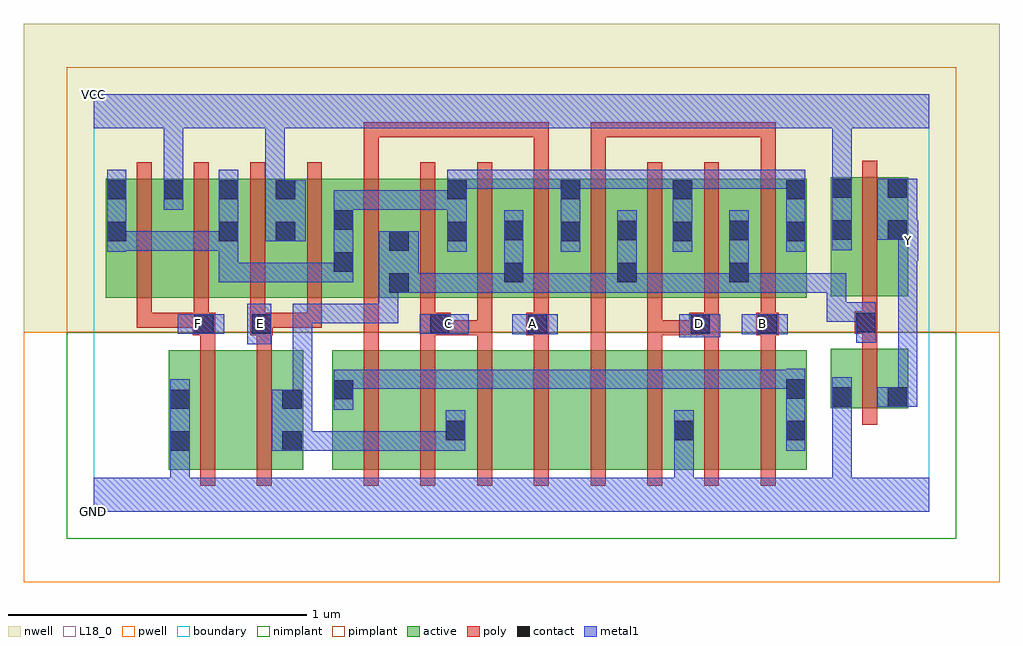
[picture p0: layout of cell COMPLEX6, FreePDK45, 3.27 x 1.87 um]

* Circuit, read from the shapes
.subckt COMPLEX6 A B C D E F GND VCC Y
M1 n1 F GND VSUBS nfet w=0.4u l=0.05u
M2 n2 E n1 VSUBS nfet w=0.4u l=0.05u
M3 n3 A n4 VSUBS nfet w=0.4u l=0.05u
M4 n2 C n3 VSUBS nfet w=0.4u l=0.05u
M5 n5 C n2 VSUBS nfet w=0.4u l=0.05u
M6 n6 A n5 VSUBS nfet w=0.4u l=0.05u
M7 n7 B n6 VSUBS nfet w=0.4u l=0.05u
M8 GND D n7 VSUBS nfet w=0.4u l=0.05u
M9 n8 D GND VSUBS nfet w=0.4u l=0.05u
M10 n4 B n8 VSUBS nfet w=0.4u l=0.05u
M11 Y n2 GND VSUBS nfet w=0.2u l=0.05u
M12 VCC F n9 n10 pfet w=0.4u l=0.05u m=2
M13 VCC E n9 n10 pfet w=0.4u l=0.05u m=2
M14 n2 A n9 n10 pfet w=0.4u l=0.05u m=2
M15 n9 C n2 n10 pfet w=0.4u l=0.05u m=2
M16 n2 B n9 n10 pfet w=0.4u l=0.05u m=2
M17 n9 D n2 n10 pfet w=0.4u l=0.05u m=2
M18 Y n2 VCC n10 pfet w=0.4u l=0.05u
.ends

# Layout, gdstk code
import gdstk
lib = gdstk.Library(unit=1e-6, precision=1e-09)
def R(c, l, rs):  # rectangles x0, y0, x1, y1
    for r in rs: c.add(gdstk.rectangle(r[:2], r[2:], *l))
def A(c, l, x, y, w, h, nx, ny, dx, dy):  # array of equal rectangles
    R(c, l, [(x+i*dx, y+j*dy, x+i*dx+w, y+j*dy+h) for i in range(nx) for j in range(ny)])
active = (1, 0)
pwell = (2, 0)
nwell = (3, 0)
nimplant = (4, 0)
pimplant = (5, 0)
poly = (9, 0)
contact = (10, 0)
metal1 = (11, 0)
L18_0 = (18, 0)
boundary = (235, 0)

complex6 = lib.new_cell('COMPLEX6')
A(complex6, active, 1.18, 0.717, 0.265, 0.4, 3, 1, 0.19, 0)
R(complex6, active, [(0.252,0.142,0.477,0.542), (0.477,0.142,0.702,0.542), (0.8,0.142,1.025,0.542), (1.025,0.142,1.25,0.542), (1.175,0.142,1.405,0.542), (1.405,0.142,1.595,0.542), (1.595,0.142,1.785,0.542), (1.785,0.142,2.015,0.542), (1.94,0.142,2.165,0.542), (2.165,0.142,2.39,0.542), (0.252,0.147,0.327,0.542), (0.627,0.147,0.702,0.542), (0.8,0.147,0.905,0.542), (1.175,0.147,1.25,0.492), (1.94,0.147,2.015,0.492), (2.315,0.147,2.39,0.542), (2.47,0.347,2.545,0.547), (2.47,0.347,2.73,0.547), (2.655,0.347,2.73,0.547), (0.04,0.717,0.115,1.117), (0.04,0.717,0.305,1.117), (0.23,0.717,0.49,1.117), (0.415,0.717,0.68,1.117), (0.605,0.717,0.875,1.117), (0.8,0.717,1.06,1.117), (0.985,0.717,1.06,1.067), (0.985,0.717,1.255,1.117), (1.37,0.717,1.445,1.067), (1.75,0.717,2.01,1.117), (1.75,0.717,1.825,1.067), (1.935,0.717,2.2,1.117), (2.125,0.717,2.39,1.117), (2.125,0.717,2.2,1.067), (2.315,0.717,2.39,1.117), (2.47,0.722,2.545,1.122), (2.47,0.722,2.73,1.122), (2.655,0.722,2.73,1.122), (0.415,0.742,0.49,1.117), (0.8,0.782,0.875,1.117), (1.18,0.782,1.255,1.117), (1.935,0.782,2.01,1.117), (0.605,0.802,0.68,1.117), (1.56,0.802,1.635,1.117), (0.23,0.907,0.305,1.117)])
R(complex6, pwell, [(-0.235,-0.235,3.035,0.602)])
R(complex6, nwell, [(-0.235,0.602,3.035,1.635)])
R(complex6, nimplant, [(-0.09,-0.09,2.89,0.602)])
R(complex6, pimplant, [(-0.09,0.602,2.89,1.49)])
A(complex6, poly, 0.905, 0.087, 0.05, 0.51, 8, 1, 0.19, 0)
A(complex6, poly, 1.095, 0.547, 0.05, 0.095, 7, 1, 0.19, 0)
A(complex6, poly, 0.145, 0.617, 0.05, 0.095, 6, 1, 0.19, 0)
A(complex6, poly, 0.145, 0.662, 0.05, 0.51, 12, 1, 0.19, 0)
R(complex6, poly, [(0.357,0.087,0.407,0.597), (0.547,0.087,0.597,0.597), (2.575,0.292,2.625,0.602), (0.357,0.547,0.407,0.642), (0.547,0.547,0.597,0.642), (0.905,0.547,0.955,0.667), (2.575,0.552,2.625,0.647), (0.332,0.592,0.407,0.667), (0.525,0.592,0.6,0.667), (1.095,0.592,1.197,0.667), (1.147,0.592,1.197,0.642), (1.147,0.592,1.197,0.642), (1.147,0.592,1.335,0.642), (1.285,0.592,1.335,0.642), (1.285,0.592,1.335,0.712), (1.45,0.592,1.525,0.667), (1.665,0.592,1.715,0.642), (1.665,0.592,1.715,0.712), (1.855,0.592,1.905,0.642), (1.855,0.592,1.905,0.642), (1.855,0.592,1.905,0.642), (1.855,0.592,2.045,0.642), (1.855,0.592,1.905,0.712), (1.995,0.592,2.095,0.667), (2.22,0.592,2.295,0.667), (2.55,0.597,2.625,0.672), (0.145,0.617,0.195,0.667), (0.145,0.617,0.382,0.667), (0.332,0.617,0.382,0.667), (0.332,0.617,0.382,0.667), (0.55,0.617,0.6,0.667), (0.55,0.617,0.6,0.667), (0.55,0.617,0.765,0.667), (0.715,0.617,0.765,0.667), (0.905,0.617,0.955,0.667), (1.475,0.617,1.525,0.712), (2.045,0.617,2.095,0.712), (2.235,0.617,2.285,0.712), (2.575,0.622,2.625,0.717), (2.575,0.667,2.625,1.177), (0.905,1.122,0.955,1.305), (1.475,1.122,1.525,1.305), (1.665,1.122,1.715,1.305), (2.235,1.122,2.285,1.305), (0.905,1.255,0.955,1.305), (0.905,1.255,0.955,1.305), (0.905,1.255,0.955,1.305), (0.905,1.255,1.197,1.305), (1.147,1.255,1.197,1.305), (1.147,1.255,1.367,1.305), (1.317,1.255,1.367,1.305), (1.317,1.255,1.367,1.305), (1.317,1.255,1.367,1.305), (1.317,1.255,1.525,1.305), (1.475,1.255,1.525,1.305), (1.475,1.255,1.525,1.305), (1.475,1.255,1.525,1.305), (1.665,1.255,1.715,1.305), (1.665,1.255,1.715,1.305), (1.665,1.255,1.715,1.305), (1.665,1.255,1.905,1.305), (1.855,1.255,1.905,1.305), (1.855,1.255,1.905,1.305), (1.855,1.255,1.905,1.305), (1.855,1.255,2.037,1.305), (1.987,1.255,2.285,1.305), (1.987,1.255,2.037,1.305), (1.987,1.255,2.037,1.305), (1.987,1.255,2.037,1.305), (2.235,1.255,2.285,1.305)])
R(complex6, contact, [(0.257,0.205,0.322,0.27), (0.632,0.205,0.697,0.27), (1.18,0.24,1.245,0.305), (1.945,0.24,2.01,0.305), (2.32,0.24,2.385,0.305), (0.257,0.345,0.322,0.41), (0.632,0.345,0.697,0.41), (2.475,0.352,2.54,0.417), (2.66,0.352,2.725,0.417), (0.805,0.377,0.87,0.442), (2.32,0.38,2.385,0.445), (0.337,0.597,0.402,0.662), (0.53,0.597,0.595,0.662), (1.127,0.597,1.192,0.662), (1.455,0.597,1.52,0.662), (2,0.597,2.065,0.662), (2.225,0.597,2.29,0.662), (2.555,0.602,2.62,0.667), (0.99,0.735,1.055,0.8), (1.375,0.77,1.44,0.835), (1.755,0.77,1.82,0.835), (2.13,0.77,2.195,0.835), (0.805,0.805,0.87,0.87), (0.99,0.875,1.055,0.94), (0.045,0.907,0.11,0.972), (0.42,0.907,0.485,0.972), (0.61,0.907,0.675,0.972), (1.185,0.907,1.25,0.972), (1.565,0.907,1.63,0.972), (1.94,0.907,2.005,0.972), (2.32,0.907,2.385,0.972), (1.375,0.91,1.44,0.975), (1.755,0.91,1.82,0.975), (2.13,0.91,2.195,0.975), (2.475,0.912,2.54,0.977), (2.66,0.912,2.725,0.977), (0.805,0.945,0.87,1.01), (0.045,1.047,0.11,1.112), (0.235,1.047,0.3,1.112), (0.42,1.047,0.485,1.112), (0.61,1.047,0.675,1.112), (1.185,1.047,1.25,1.112), (1.565,1.047,1.63,1.112), (1.94,1.047,2.005,1.112), (2.32,1.047,2.385,1.112), (2.475,1.052,2.54,1.117), (2.66,1.052,2.725,1.117)])
R(complex6, metal1, [(0,0,2.8,0.115), (0.257,0.05,0.322,0.235), (1.945,0.05,2.01,0.27), (2.475,0.05,2.54,0.115), (2.475,0.05,2.54,0.115), (2.475,0.05,2.54,0.382), (0.257,0.17,0.322,0.445), (0.597,0.205,0.732,0.41), (0.667,0.205,0.732,0.27), (0.667,0.205,0.732,0.27), (0.667,0.205,0.732,0.27), (0.667,0.205,0.732,0.27), (0.667,0.205,0.882,0.27), (0.817,0.205,0.882,0.27), (0.817,0.205,0.882,0.27), (0.817,0.205,0.882,0.27), (0.817,0.205,1.077,0.27), (1.012,0.205,1.077,0.27), (1.012,0.205,1.077,0.27), (1.012,0.205,1.077,0.27), (1.012,0.205,1.245,0.27), (1.18,0.205,1.245,0.34), (1.945,0.205,2.01,0.34), (2.32,0.205,2.385,0.48), (2.475,0.317,2.54,0.382), (2.475,0.317,2.54,0.382), (2.475,0.317,2.54,0.452), (0.805,0.342,0.87,0.477), (0.667,0.345,0.732,0.697), (2.625,0.352,2.76,0.417), (2.695,0.352,2.76,0.907), (0.805,0.412,0.87,0.477), (0.805,0.412,0.87,0.477), (0.805,0.412,1.107,0.477), (1.042,0.412,1.107,0.477), (1.042,0.412,1.107,0.477), (1.042,0.412,1.107,0.477), (1.042,0.412,1.257,0.477), (1.192,0.412,1.257,0.477), (1.192,0.412,1.257,0.477), (1.192,0.412,1.257,0.477), (1.192,0.412,1.492,0.477), (1.427,0.412,1.492,0.477), (1.427,0.412,1.492,0.477), (1.427,0.412,1.492,0.477), (1.427,0.412,1.682,0.477), (1.617,0.412,1.682,0.477), (1.617,0.412,1.682,0.477), (1.617,0.412,1.682,0.477), (1.617,0.412,1.867,0.477), (1.802,0.412,1.867,0.477), (1.802,0.412,1.867,0.477), (1.802,0.412,1.867,0.477), (1.802,0.412,2.005,0.477), (1.94,0.412,2.005,0.477), (1.94,0.412,2.005,0.477), (1.94,0.412,2.005,0.477), (1.94,0.412,2.247,0.477), (2.182,0.412,2.247,0.477), (2.182,0.412,2.385,0.477), (2.32,0.412,2.385,0.477), (2.32,0.412,2.385,0.477), (0.515,0.562,0.595,0.697), (2.555,0.567,2.62,0.702), (1.962,0.585,2.1,0.662), (1.402,0.595,1.555,0.662), (2.172,0.595,2.325,0.662), (0.282,0.597,0.437,0.662), (1.092,0.597,1.257,0.662), (0.667,0.632,0.732,0.697), (0.667,0.632,0.732,0.697), (0.667,0.632,0.732,0.697), (0.667,0.632,0.882,0.697), (0.817,0.632,0.882,0.697), (0.817,0.632,0.882,0.697), (0.817,0.632,0.882,0.697), (0.817,0.632,1.02,0.697), (0.955,0.632,1.02,0.697), (0.955,0.632,1.02,0.8), (2.457,0.637,2.522,0.702), (2.457,0.637,2.62,0.702), (2.457,0.637,2.522,0.8), (0.955,0.735,1.09,0.94), (1.025,0.735,1.09,0.8), (1.025,0.735,1.09,0.8), (1.025,0.735,1.257,0.8), (1.192,0.735,1.257,0.8), (1.192,0.735,1.257,0.8), (1.192,0.735,1.257,0.8), (1.192,0.735,1.44,0.8), (1.375,0.735,1.44,0.8), (1.375,0.735,1.44,0.8), (1.375,0.735,1.44,1.01), (1.375,0.735,1.682,0.8), (1.617,0.735,1.682,0.8), (1.617,0.735,1.682,0.8), (1.617,0.735,1.682,0.8), (1.617,0.735,1.82,0.8), (1.755,0.735,1.82,0.8), (1.755,0.735,1.82,0.8), (1.755,0.735,1.82,1.01), (1.755,0.735,2.005,0.8), (1.94,0.735,2.005,0.8), (1.94,0.735,2.005,0.8), (1.94,0.735,2.005,0.8), (1.94,0.735,2.195,0.8), (2.13,0.735,2.195,0.8), (2.13,0.735,2.195,0.8), (2.13,0.735,2.195,1.01), (2.13,0.735,2.482,0.8), (2.417,0.735,2.482,0.8), (2.417,0.735,2.522,0.8), (2.457,0.735,2.522,0.8), (0.42,0.77,0.732,0.835), (0.42,0.77,0.485,0.937), (0.667,0.77,0.732,0.835), (0.667,0.77,0.732,0.835), (0.667,0.77,0.732,0.835), (0.667,0.77,0.87,0.835), (0.805,0.77,0.87,1.045), (2.695,0.842,2.762,0.977), (0.045,0.872,0.11,1.147), (0.42,0.872,0.485,0.937), (0.42,0.872,0.485,1.147), (1.185,0.872,1.25,1.147), (1.565,0.872,1.63,1.147), (1.94,0.872,2.005,1.147), (2.32,0.872,2.385,1.147), (0.045,0.875,0.11,0.94), (0.045,0.875,0.11,0.94), (0.045,0.875,0.347,0.94), (0.282,0.875,0.347,0.94), (0.282,0.875,0.347,0.94), (0.282,0.875,0.347,0.94), (0.282,0.875,0.485,0.94), (2.475,0.877,2.54,1.152), (0.575,0.907,0.71,1.112), (2.625,0.912,2.76,1.117), (2.695,0.912,2.76,0.977), (0.805,0.98,0.87,1.045), (0.805,0.98,0.87,1.077), (0.235,1.012,0.3,1.147), (0.805,1.012,0.87,1.077), (0.805,1.012,0.87,1.077), (0.805,1.012,1.052,1.077), (0.987,1.012,1.052,1.077), (0.987,1.012,1.052,1.077), (0.987,1.012,1.052,1.077), (0.987,1.012,1.25,1.077), (0.575,1.047,0.64,1.35), (0.235,1.082,0.3,1.147), (0.235,1.082,0.3,1.147), (0.235,1.082,0.3,1.35), (1.185,1.082,1.25,1.147), (1.185,1.082,1.25,1.147), (1.185,1.082,1.395,1.147), (1.33,1.082,1.395,1.147), (1.33,1.082,1.395,1.147), (1.33,1.082,1.395,1.147), (1.33,1.082,1.63,1.147), (1.565,1.082,1.63,1.147), (1.565,1.082,1.63,1.147), (1.565,1.082,1.867,1.147), (1.802,1.082,1.867,1.147), (1.802,1.082,1.867,1.147), (1.802,1.082,1.867,1.147), (1.802,1.082,2.005,1.147), (1.94,1.082,2.005,1.147), (1.94,1.082,2.005,1.147), (1.94,1.082,2.247,1.147), (2.182,1.082,2.247,1.147), (2.182,1.082,2.385,1.147), (2.32,1.082,2.385,1.147), (2.32,1.082,2.385,1.147), (2.475,1.087,2.54,1.152), (2.475,1.087,2.54,1.152), (2.475,1.087,2.54,1.35), (0,1.285,2.8,1.4), (0.575,1.285,0.64,1.35), (0.575,1.285,0.64,1.35)])
R(complex6, L18_0, [(0,0,2.8,0.115), (0.257,0.05,0.322,0.235), (1.945,0.05,2.01,0.27), (2.475,0.05,2.54,0.115), (2.475,0.05,2.54,0.115), (2.475,0.05,2.54,0.382), (0.257,0.17,0.322,0.445), (1.945,0.205,2.01,0.34), (2.475,0.317,2.54,0.452), (2.475,0.317,2.54,0.382), (2.475,0.317,2.54,0.382), (2.625,0.352,2.76,0.417), (2.695,0.352,2.76,0.907), (0.515,0.562,0.595,0.697), (1.962,0.585,2.1,0.662), (1.402,0.595,1.555,0.662), (2.172,0.595,2.325,0.662), (0.282,0.597,0.437,0.662), (0.317,0.597,0.382,0.662), (0.527,0.597,0.592,0.662), (1.092,0.597,1.257,0.662), (1.157,0.597,1.222,0.662), (1.437,0.597,1.502,0.662), (1.997,0.597,2.062,0.662), (2.207,0.597,2.272,0.662), (2.695,0.842,2.762,0.977), (2.475,0.877,2.54,1.152), (2.697,0.877,2.762,0.942), (0.575,0.907,0.71,1.112), (2.625,0.912,2.76,1.117), (2.695,0.912,2.76,0.977), (0.235,1.012,0.3,1.147), (0.575,1.047,0.64,1.35), (0.235,1.082,0.3,1.147), (0.235,1.082,0.3,1.147), (0.235,1.082,0.3,1.35), (2.475,1.087,2.54,1.152), (2.475,1.087,2.54,1.152), (2.475,1.087,2.54,1.35), (0,1.285,2.8,1.4), (0.575,1.285,0.64,1.35), (0.575,1.285,0.64,1.35)])
R(complex6, boundary, [(0,0,2.8,1.4)])
complex6.add(gdstk.Label('A', (1.47,0.63), layer=11, texttype=0))
complex6.add(gdstk.Label('B', (2.24,0.63), layer=11, texttype=0))
complex6.add(gdstk.Label('C', (1.19,0.63), layer=11, texttype=0))
complex6.add(gdstk.Label('D', (2.03,0.63), layer=11, texttype=0))
complex6.add(gdstk.Label('E', (0.56,0.63), layer=11, texttype=0))
complex6.add(gdstk.Label('F', (0.35,0.63), layer=11, texttype=0))
complex6.add(gdstk.Label('Y', (2.73,0.91), layer=11, texttype=0))
complex6.add(gdstk.Label('VCC', (0,1.4), layer=11, texttype=0))
complex6.add(gdstk.Label('GND', (0,0), layer=11, texttype=0))

lib.write_gds('COMPLEX6.gds')
